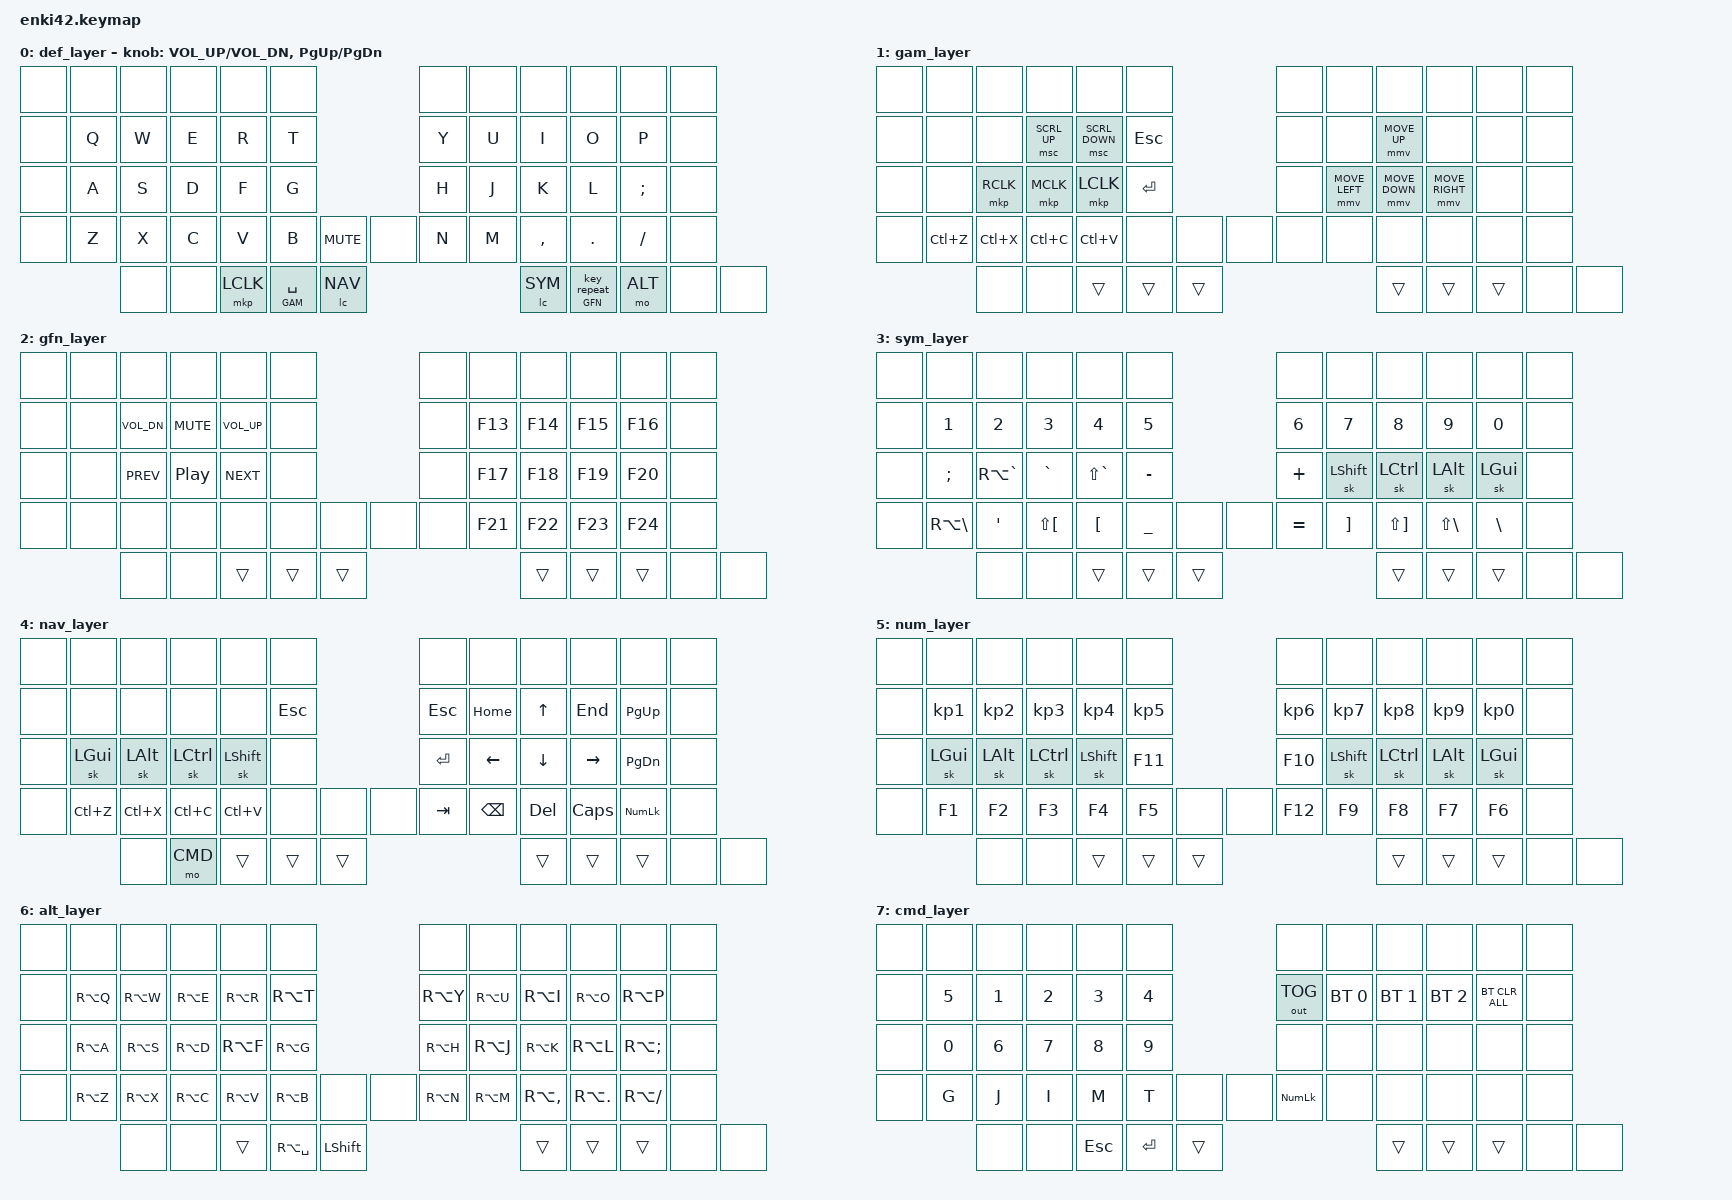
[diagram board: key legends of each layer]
/*
 * Copyright (c) 2020 The ZMK Contributors
 *
 * SPDX-License-Identifier: MIT
 */

#define ZMK_POINTING_DEFAULT_MOVE_VAL 1500  // default: 600
#define ZMK_POINTING_DEFAULT_SCRL_VAL 20    // default: 10

#include <behaviors.dtsi>
#include <dt-bindings/zmk/keys.h>
#include <dt-bindings/zmk/bt.h>
#include <dt-bindings/zmk/ext_power.h>
#include <dt-bindings/zmk/outputs.h>
#include <dt-bindings/zmk/pointing.h>

#define _ &kp
#define _n &none
#define _t &trans

#define DEF 0
#define GAM 1
#define GFN 2
#define SYM 3
#define NAV 4
#define NUM 5
#define ALT 6
#define CMD 7

#define MEH(key) LS(LC(LA(key)))

#define SQT GRAVE
#define DQT LS(GRAVE)
#define GRV RA(GRAVE)
#define PIP LS(BSLH)
#define BSL RA(BSLH)
#define NBSP RA(SPACE)

#define NSPC LC(LG(RIGHT))
#define PSPC LC(LG(LEFT))

&sk {
	quick-release; // Avoids "THis" problem (double capitalization)
    release-after-ms = <60000>;
};

&mmv {
    time-to-max-speed-ms = <1000>;
};

&msc {
    time-to-max-speed-ms = <600>;
};

/ {
    combos {
        compatible = "zmk,combos";
        timeout-ms = <50>;
        require-prior-idle-ms = <250>;
        
        combo_reset_central {
            key-positions = <46 47>;
            bindings = <&bootloader>;
            require-prior-idle-ms = <2000>;
            layers = <GFN>;
        };

        combo_toggle_usb_ble {
            key-positions = <20 21>;
            bindings = <&out OUT_TOG>;
            require-prior-idle-ms = <2000>;
            layers = <GFN>;
        };

        combo_soft_off {
            key-positions = <38 39>;
            bindings = <&soft_off>;
            require-prior-idle-ms = <2000>;
            layers = <GFN>;
        };
    };

    macros {
		lc: mo_layer_switch_with_an_embeded_cancel_tap_for_clearing_any_queued_sticky_mods_on_press {
			compatible = "zmk,behavior-macro-one-param";
			label = "mo_layer/cancel";
			wait-ms = <0>;
			tap-ms = <0>;
			#binding-cells = <1>;
			bindings =
			<&macro_tap>,
			<&kp K_CANCEL &macro_param_1to1>,
			<&macro_press>,
			<&mo MACRO_PLACEHOLDER>,
			<&macro_pause_for_release>,
			<&macro_param_1to1>,
			<&macro_release>,
			<&mo MACRO_PLACEHOLDER>;
		};
    };

    behaviors {
        tp_repeat_mo: tp_repeat_mo {
            compatible = "zmk,behavior-hold-tap";
            label = "TP_REPEAT_MO";
            #binding-cells = <2>;
            tapping-term-ms = <200>;
            bindings = <&mo>, <&key_repeat>;
        };
    };

    conditional_layers {
        compatible = "zmk,conditional-layers";
        tri_layer {
            if-layers  = <NAV SYM>;
            then-layer = <NUM>;
        };
    };

    keymap {
        compatible = "zmk,keymap";

        def_layer {
// ------------------------------------------------------------------------------------------------------------
// |       |     |     |      |      |      |                   |      |       |       |      |       |       |
// |       |  Q  |  W  |  E   |  R   |  T   |                   |  Y   |  U    |  I    |  O   |   P   |       |
// |       |  A  |  S  |  D   |  F   |  G   |                   |  H   |  J    |  K    |  L   |   ;   |       |
// |       |  Z  |  X  |  C   |  V   |  B   |  MUTE  |  |       |  N   |  M    |  ,    |  .   |   /   |       |
//               |     |      |      |      |        |  |       |      |       |       |      |
            bindings = <
_n _n   _n     _n     _n       _n                                _n      _n        _n       _n     _n     _n     
_n _ Q  _ W    _ E    _ R      _ T                               _ Y     _ U       _ I      _ O    _ P    _n
_n _ A  _ S    _ D    _ F      _ G                               _ H     _ J       _ K      _ L    _ SEMI _n
_n _ Z  _ X    _ C    _ V      _ B      _ C_MUTE      _n         _ N     _ M       _ COMMA  _ DOT  _ FSLH _n
        _n     _n     &mkp LCLK  &lt GAM SPACE  &lc NAV          &lc SYM  &tp_repeat_mo GFN 0  &mo ALT  _n     _n
            >;

            sensor-bindings = <&inc_dec_kp C_VOL_UP C_VOL_DN &inc_dec_kp PG_UP PG_DN>;
        };

        gam_layer {
            bindings = <
_n _n          _n           _n           _n              _n              _n           _n             _n             _n              _n      _n            
_n _n          _n           &msc SCRL_UP &msc SCRL_DOWN  _ ESC           _n           _n             &mmv MOVE_UP   _n              _n      _n
_n _n          &mkp RCLK    &mkp MCLK    &mkp LCLK       _ RET           _n           &mmv MOVE_LEFT &mmv MOVE_DOWN &mmv MOVE_RIGHT _n      _n
_n _ LC(Z)     _ LC(X)      _ LC(C)      _ LC(V)         _n     _n   _n  _n           _n             _n             _n              _n      _n 
               _n     _n     _t           _t             _t              _t           _t             _t             _n              _n
            >;
        };

        gfn_layer {
            bindings = <
_n _n           _n           _n           _n          _n                  _n           _n           _n           _n           _n          _n
_n _n           _ C_VOL_DN   _ C_MUTE     _ C_VOL_UP  _n                  _n           _ F13        _ F14        _ F15        _ F16       _n
_n _n           _ C_PREV     _ C_PP       _ C_NEXT    _n                  _n           _ F17        _ F18        _ F19        _ F20       _n
_n _n           _n           _n           _n          _n       _n _n      _n           _ F21        _ F22        _ F23        _ F24       _n
                    _n _n    _t           _t          _t                  _t           _t           _t  _n _n  
            >;
        };

        sym_layer {
            bindings = <
_n _n           _n           _n           _n          _n              _n           _n           _n           _n           _n         _n
_n _ N1         _ N2         _ N3         _ N4        _ N5            _ N6         _ N7         _ N8         _ N9         _ N0       _n
_n _ SEMI       _ GRV        _ SQT        _ DQT       _ MINUS         _ PLUS       &sk LSHFT    &sk LCTRL    &sk LALT     &sk LGUI   _n
_n _ BSL        _ APOS       _ LS(LBKT)   _ LBKT      _ UNDER  _n _n  _ EQUAL      _ RBKT       _ LS(RBKT)   _ PIP        _ BSLH     _n
                      _n _n  _t           _t          _t              _t           _t           _t  _n _n 
            >;
        };

        nav_layer {
            bindings = <
_n _n           _n           _n           _n          _n                      _n           _n           _n           _n           _n         _n
_n _n           _n           _n           _n          _ ESC                   _ ESC        _ HOME       _ UP         _ END        _ PG_UP    _n           
_n &sk LGUI     &sk LALT     &sk LCTRL    &sk LSHFT   _n                      _ RET        _ LEFT       _ DOWN       _ RIGHT      _ PG_DN    _n
_n _ LC(Z)       _ LC(X)     _ LC(C)      _ LC(V)     _n     _n         _n    _ TAB        _ BSPC       _ DEL        _ CAPS       _ KP_NUM   _n        
                    _n &mo CMD _t         _t          _t                      _t           _t           _t  _n _n   
            >;
        };

        num_layer {
            bindings = <
_n _n           _n           _n           _n          _n              _n           _n           _n           _n           _n         _n
_n _ KP_N1      _ KP_N2      _ KP_N3      _ KP_N4     _ KP_N5         _ KP_N6      _ KP_N7      _ KP_N8      _ KP_N9      _ KP_N0    _n
_n &sk LGUI     &sk LALT     &sk LCTRL    &sk LSHFT   _ F11           _ F10        &sk LSHFT    &sk LCTRL    &sk LALT     &sk LGUI   _n
_n _ F1         _ F2         _ F3         _ F4        _ F5  _n    _n  _ F12        _ F9         _ F8         _ F7         _ F6       _n
                     _n _n   _t           _t          _t              _t           _t           _t  _n _n  
            >;
        };

        alt_layer {
            bindings = <
_n _n           _n           _n           _n          _n              _n           _n           _n           _n           _n         _n
_n _ RA(Q)      _ RA(W)      _ RA(E)      _ RA(R)     _ RA(T)         _ RA(Y)      _ RA(U)      _ RA(I)      _ RA(O)      _ RA(P)    _n
_n _ RA(A)      _ RA(S)      _ RA(D)      _ RA(F)     _ RA(G)         _ RA(H)      _ RA(J)      _ RA(K)      _ RA(L)      _ RA(SEMI) _n
_n _ RA(Z)      _ RA(X)      _ RA(C)      _ RA(V)     _ RA(B)  _n _n  _ RA(N)      _ RA(M)      _ RA(COMMA)  _ RA(DOT)    _ RA(FSLH) _n
                     _n _n   _t           _ NBSP      _ LSHFT         _t           _t           _t    _n _n 
            >;
        };

        cmd_layer {
            bindings = <
_n _n           _n           _n           _n          _n              _n           _n           _n           _n          _n              _n
_n _ N5         _ N1         _ N2         _ N3        _ N4            &out OUT_TOG &bt BT_SEL 0 &bt BT_SEL 1 &bt BT_SEL 2 &bt BT_CLR_ALL _n
_n _ N0         _ N6         _ N7         _ N8        _ N9            _n           _n          _n          _n           _n               _n
_n _ G          _ J          _ I          _ M         _ T  _n     _n  _ KP_NUM     _n          _n          _n           _n               _n
                     _n _n   _ ESC        _ RET       _t              _t           _t          _t  _n _n
            >;
        };

    };
};
